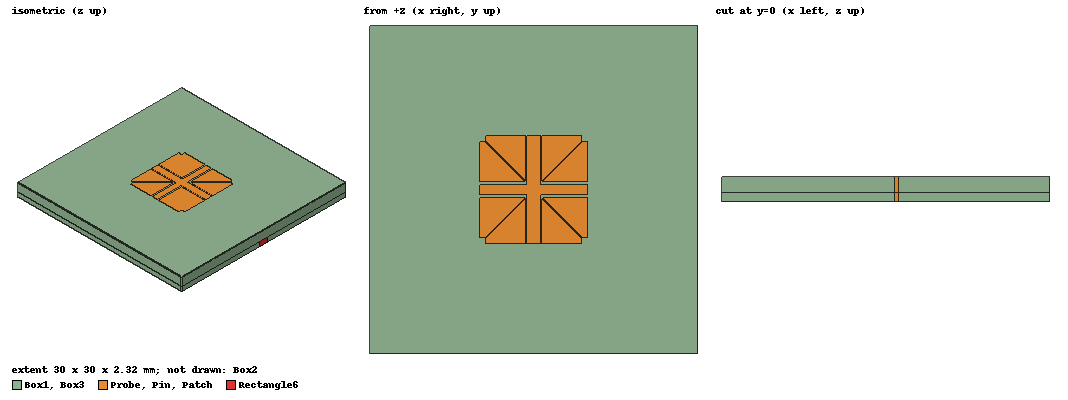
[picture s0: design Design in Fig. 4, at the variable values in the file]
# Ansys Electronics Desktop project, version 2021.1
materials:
  vacuum: permittivity=1
  FR4_epoxy: permittivity=4.4 dielectric_loss_tangent=0.02
  Rogers RO4350 (tm): permittivity=3.48 dielectric_loss_tangent=0.004
  copper: permeability=0.999991 conductivity=58000000

design Design in Fig. 4 (HFSS, DrivenModal, model units mm)
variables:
  Wg = 30mm
  Lg = Wg
  Hs = 1.52mm
  W = 8.8mm
  L = 9.9mm
  w1 = 1.2mm
  g = 0.1mm
  s = 0.1mm
  df = 1mm
  Lc = 5mm
  dx = 1.45mm
  dy = 0.5mm
  rv = 0.2mm
  Bo = 15mm
  cut = 2mm
  gg = 0.25mm
  Hf = 0.8mm
  wf = 1.3mm
  off = 0.5mm
  l1 = 5mm
  l2 = df+l1+wf
  wcut = 0.5mm
  df1 = 1mm
  wff = 1.7mm
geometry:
  GND = rectangle(corner=(-Wg/2, -Lg/2, 0mm), x_size=Wg, y_size=Lg)
  Box1 [Rogers RO4350 (tm)] = box(corner=(-Wg/2, -Lg/2, 0mm), size=(Wg, Lg, Hs))
  Patch = rectangle(corner=(-W/2, -L/2, Hs), x_size=W, y_size=L)
  Pin [copper] = cylinder(axis=Z, base_centre=(0mm, df, 0), radius=0.15mm, height=-Hf)
  Probe [copper] = cylinder(axis=Z, base_centre=(0mm, df, 0mm), radius=0.15mm, height=Hs)
  Box2 [vacuum] = box(corner=(-Wg/2-Bo, -Lg/2-Bo, -Bo), size=(Wg+2*Bo, Lg+2*Bo, Hs+2*Bo))
  Port1 = circle(normal=Z, centre=(0mm, df1, 0), radius=0.35mm)
  GND.subtract(Port1)
  Vias1 [copper] = cylinder(axis=Z, base_centre=(w/2-dx, l/2-dy, 0), radius=rv, height=Hs)
  Vias1_1 = Vias1.duplicate_mirror(point=(16mm, 0mm, 0mm), normal=(0mm, -1mm, 0mm))
  Vias1_2 = Vias1.duplicate_mirror(point=(0mm, 16mm, 0mm), normal=(-1mm, 0mm, 0mm))
  Vias1_1_1 = Vias1_1.duplicate_mirror(point=(0mm, 16mm, 0mm), normal=(-1mm, 0mm, 0mm))
  Patch_1 = Patch.duplicate_around_axis(axis=Z, angle=90deg, total=2)
  Patch5 = rectangle(corner=(-W1/2-g, W1/2, Hs), x_size=g, y_size=L)
  Patch.unite(Patch_1)
  Patch5_1 = Patch5.duplicate_mirror(point=(-5.5mm, 0mm, 0mm), normal=(0mm, -1mm, 0mm))
  Patch5.unite(Patch5_1)
  Patch5_2 = Patch5.duplicate_mirror(point=(0mm, 9mm, 0mm), normal=(1mm, 0mm, 0mm))
  Patch5.unite(Patch5_2)
  Vias1.unite(Vias1_1, Vias1_1_1, Vias1_2)
  Vias1_3 [copper] = Vias1.duplicate_around_axis(axis=Z, angle=90deg, total=2)
  Port2 = circle(normal=Z, centre=(0mm, df, 0), radius=0.35mm)
  Port2.rotate(axis=Z, angle=90deg)
  GND.subtract(Port2)
  Rectangle1 = rectangle(corner=(-s/2, (w1/2+g)*2^0.5, Hs), x_size=s, y_size=L)
  Rectangle1.rotate(axis=Z, angle=45deg)
  Rectangle1_1, Rectangle1_2, Rectangle1_3 = Rectangle1.duplicate_around_axis(axis=Z, angle=90deg, total=4)
  Patch6 = rectangle(corner=(-W1/2-g, W1/2, Hs), x_size=gg, y_size=L)
  Patch5_3 = Patch6.duplicate_mirror(point=(-5.5mm, 0mm, 0mm), normal=(0mm, -1mm, 0mm))
  Patch6.unite(Patch5_3)
  Patch5_4 = Patch6.duplicate_mirror(point=(0mm, 9mm, 0mm), normal=(1mm, 0mm, 0mm))
  Patch6.unite(Patch5_4)
  Patch6.rotate(axis=Z, angle=90deg)
  Patch.subtract(Patch5, Patch6, Rectangle1, Rectangle1_1, Rectangle1_2, Rectangle1_3)
  Box3 [FR4_epoxy] = box(corner=(-Wg/2, -Lg/2, 0), size=(Wg, Lg, -Hf))
  Rectangle2 = rectangle(corner=(-wff/2, Wg/2, -Hf), x_size=wff, y_size=-(Wg/2-df)-off)
  Rectangle3 = rectangle(corner=(-wff/2, df+wf/2, -Hf), x_size=l1+wf/2, y_size=-wf)
  Rectangle4 = rectangle(corner=(l1-wf/2, df+wf/2, -Hf), x_size=wf, y_size=-l2)
  Rectangle3_1 = Rectangle3.duplicate_mirror(point=(0.4mm, -0.4mm, 0mm), normal=(-0.70710678mm, -0.70710678mm, 0mm))
  Rectangle4_1 = Rectangle4.duplicate_mirror(point=(0.4mm, -0.4mm, 0mm), normal=(-0.70710678mm, -0.70710678mm, 0mm))
  Rectangle5 = rectangle(corner=(0, -wcut/2, -Hf), x_size=Wg, y_size=wcut)
  Rectangle5.rotate(axis=Z, angle=135deg)
  Rectangle2.unite(Rectangle3, Rectangle3_1, Rectangle4, Rectangle4_1)
  Rectangle2.subtract(Rectangle5)
  Rectangle6 = rectangle(corner=(-wf/2, Wg/2, 0mm), z_size=-Hf, x_size=wf)
  [Pin, Probe].rotate(axis=Z, angle=90deg)
  Pin1 [copper] = cylinder(axis=Z, base_centre=(0mm, df1, 0), radius=0.15mm, height=-Hf)
  Probe1 [copper] = cylinder(axis=Z, base_centre=(0mm, df1, 0mm), radius=0.15mm, height=Hs)
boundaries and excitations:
  FiniteCond1: Finite Conductivity Objects=[GND, Patch] UseMaterial Material=copper IsInternal
  Rad1: Radiation Objects=Box2
  PerfE1: Perfect E Objects=Rectangle2
  1: Lumped Port Objects=Rectangle6 Modes{Mode1{IntLine{middle of Rectangle6.edge(z opposite corner) -> middle of Rectangle6.edge(z at corner)} CharImp=Zpi RenormImp=50ohm}} Impedance=50ohm
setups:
  Setup1: HfssDriven Frequency=5.6GHz MaxDeltaS=0.02 MaximumPasses=15 MinimumPasses=1 MinimumConvergedPasses=1 PercentRefinement=30 BasisOrder=1 PortAccuracy=2
    sweep Sweep: 5.3GHz to 6.1GHz step 0.01GHz; Type=Discrete SaveFields
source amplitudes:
  1:1: 1W 0deg
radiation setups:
  Infinite Sphere1: Infinite Sphere Theta=-180deg..180deg step 5deg Phi=-180deg..180deg step 5deg
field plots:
  Vector_Jsurf1: Jsurf over Patch.face(all 9) on Setup1 : Sweep at Freq=5.5GHz Phase=180deg
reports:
  Gain Plot 1: dB(RealizedGainTotal) vs Freq on Setup1 : Sweep, Infinite Sphere1 [Phi=0deg Theta=0deg]
  S Parameter Plot 1: dB(S(1,1)) vs Freq on Setup1 : Sweep [gg=0.2mm,0.25mm]; markers MY1 at y=-10
  Gain Plot 3: dB(GainTotal) vs Phi, Theta on Setup1 : Sweep, Infinite Sphere1 [Freq=5.82GHz]
  Gain Plot 4: dB(GainTotal) vs Phi, Theta on Setup1 : Sweep, Infinite Sphere1 [Freq=5.56GHz]
  Realized Gain Plot 1: dB(RealizedGainPhi), dB(RealizedGainTheta) vs Theta on Setup1 : Sweep, Infinite Sphere1 [Phi=0deg,90deg Freq=5.5GHz]; markers m1 at 0deg, m2 at 0deg
  Antenna Params Plot 1: RadiationEfficiency vs Freq on Setup1 : Sweep; markers m1 at 5.45GHz, m2 at 5.54GHz, m3 at 5.84GHz, m4 at 5.93GHz
  Realized Gain Plot 2: dB(RealizedGainPhi), dB(RealizedGainTheta) vs Theta on Setup1 : Sweep, Infinite Sphere1 [Phi=0deg,90deg Freq=5.9GHz]; markers m1 at 0deg, m2 at 0deg
